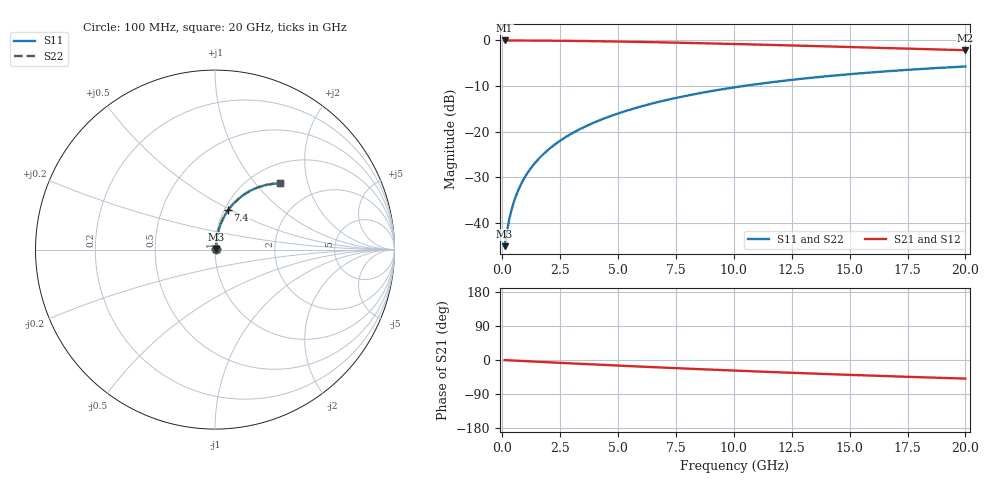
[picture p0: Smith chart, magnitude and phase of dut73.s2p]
! Touchstone file exported from HFSS 2024.1.0
!  File:  C:/UserFiles/LocalFiles/RDL_TSV_Batchsim/temp_RDL_bottom_73_1778693942.aedt
!  Generated:  01:42:10 AM May 14, 2026
!  Design:  RDL_bottom
!  Project:  temp_RDL_bottom_73_1778693942
!  Setup:  Setup1
!  Solution:  Sweep
! Variables:
!  dtsv = 10.80580581um
!  hbump = 3um
!  htsv = 60.6um
!  ldown = 637.07um
!  lrdl = 100um
!  p = 40
!  p1 = 58.02um
!  rhole = 1um
!  t = 450um
!  tdown = 3.37um
!  trdl = 3.915915916um
!  wdown = 15.4um
!  wrdl = 20um
# GHz S MA R 50.000000
! Terminal data exported
! Port[1] = RDL1_T1
! Port[2] = RDL1_T2
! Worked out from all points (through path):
!   200 points, 100 MHz to 20 GHz, reference 50 ohm
!   highest |S21| = -0.04 dB at 100 MHz (marker M1); lowest = -2.2 dB at 20 GHz (marker M2)
!   group delay of S21, straight-line fit = 6.81 ps
!   lowest |S11| = -45.1 dB at 100 MHz (marker M3), VSWR 1.01, Z = 50.4 + j0.334 ohm
!   |S11| at or under -10 dB: start of sweep to 10.44 GHz
!   |S22| runs from -45.1 to -5.7 dB; largest |S21 - S12| = 8.7e-15
!   S11 on the Smith chart (normalised r, x): 100 MHz: 1.01, +0.01; 7.4 GHz: 1.04, +0.48; 20 GHz: 1.35, +1.36
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0.1  0.005556 36.6  0.9955 -0.3  0.9955 -0.3  0.005556 36.6
! Gamma 0 0 0 0
! Port Impedance 50 0 50 0
0.2  0.008029 55.2  0.9954 -0.6  0.9954 -0.6  0.008029 55.2
0.3  0.01092 64.2  0.9953 -0.9  0.9953 -0.9  0.01092 64.2
0.4  0.01393 69.2  0.9951 -1.2  0.9951 -1.2  0.01393 69.2
0.5  0.01698 72.3  0.9949 -1.5  0.9949 -1.5  0.01698 72.3
0.6  0.02005 74.5  0.9947 -1.8  0.9947 -1.8  0.02005 74.5
0.8  0.02623 77.2  0.9942 -2.4  0.9942 -2.4  0.02623 77.2
1.1  0.03555 79.3  0.9935 -3.3  0.9935 -3.3  0.03555 79.3
1.5  0.04806 80.5  0.9923 -4.5  0.9923 -4.5  0.04806 80.5
1.8  0.05748 80.8  0.9911 -5.4  0.9911 -5.4  0.05748 80.8
2.1  0.06692 80.9  0.9898 -6.3  0.9898 -6.3  0.06691 80.8
2.7  0.08581 80.5  0.9867 -8.1  0.9867 -8.1  0.0858 80.5
3.5  0.111 79.4  0.9815 -10.4  0.9815 -10.4  0.111 79.4
4.2  0.1329 78.3  0.9761 -12.5  0.9761 -12.5  0.1329 78.2
5  0.1578 76.7  0.969 -14.7  0.969 -14.7  0.1578 76.7
6.8  0.2128 72.9  0.9504 -19.7  0.9504 -19.7  0.2128 72.9
7.4  0.2307 71.6  0.9435 -21.3  0.9435 -21.3  0.2306 71.6
8.7  0.2684 68.7  0.9277 -24.6  0.9277 -24.6  0.2683 68.7
10.1  0.3071 65.6  0.9098 -28.1  0.9098 -28.1  0.307 65.5
13.4  0.3898 58.4  0.8655 -35.8  0.8655 -35.8  0.3896 58.3
16.7  0.4595 51.6  0.821 -42.8  0.821 -42.8  0.4593 51.6
20  0.5168 45.5  0.7784 -49.1  0.7784 -49.1  0.5165 45.5
